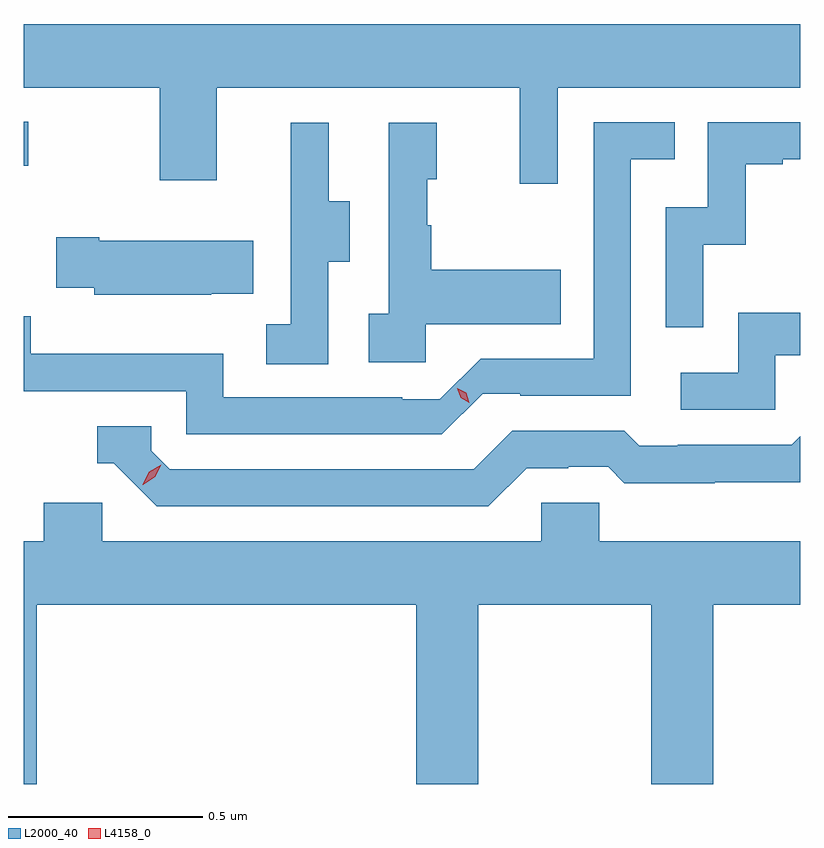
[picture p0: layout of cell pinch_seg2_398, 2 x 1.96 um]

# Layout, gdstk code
import gdstk
lib = gdstk.Library(unit=1e-6, precision=1e-09)
def R(c, l, rs):  # rectangles x0, y0, x1, y1
    for r in rs: c.add(gdstk.rectangle(r[:2], r[2:], *l))
def P(c, l, *ps):  # polygons
    for p in ps: c.add(gdstk.Polygon(p, *l))
L2000_40 = (2000, 40)
L4158_0 = (4158, 0)

pinch_seg2_398 = lib.new_cell('pinch_seg2_398')
R(pinch_seg2_398, L2000_40, [(999.086,624.791,999.097,624.904)])
P(pinch_seg2_398, L2000_40, [(1000.461,624.992),(1001.086,624.992),(1001.086,625.156),(999.086,625.156),(999.086,624.992),(999.436,624.992),(999.436,624.753),(999.583,624.753),(999.583,624.992),(1000.364,624.992),(1000.364,624.744),(1000.461,624.744)],
  [(1000.836,624.587),(1000.946,624.587),(1000.946,624.795),(1001.041,624.795),(1001.041,624.807),(1001.086,624.807),(1001.086,624.903),(1000.848,624.903),(1000.848,624.684),(1000.74,624.684),(1000.74,624.375),(1000.836,624.375)],
  [(1000.268,624.204),(1000.365,624.204),(1000.365,624.198),(1000.65,624.198),(1000.65,624.807),(1000.763,624.807),(1000.763,624.903),(1000.554,624.903),(1000.554,624.294),(1000.263,624.294),(1000.158,624.189),(1000.061,624.189),(1000.061,624.195),(999.6,624.195),(999.6,624.307),(999.104,624.307),(999.104,624.403),(999.086,624.403),(999.086,624.21),(999.504,624.21),(999.504,624.099),(1000.163,624.099)],
  [(1000.122,624.383),(1000.469,624.383),(1000.469,624.523),(1000.135,624.523),(1000.135,624.638),(1000.125,624.638),(1000.125,624.756),(1000.15,624.756),(1000.15,624.901),(1000.026,624.901),(1000.026,624.41),(999.975,624.41),(999.975,624.285),(1000.122,624.285)],
  [(999.87,624.544),(999.925,624.544),(999.925,624.699),(999.871,624.699),(999.871,624.901),(999.773,624.901),(999.773,624.687),(999.774,624.687),(999.774,624.383),(999.711,624.383),(999.711,624.28),(999.87,624.28)],
  [(999.569,624.461),(999.677,624.461),(999.677,624.598),(999.28,624.598),(999.28,624.606),(999.169,624.606),(999.169,624.476),(999.267,624.476),(999.267,624.458),(999.569,624.458)],
  [(1001.022,624.303),(1001.086,624.303),(1001.086,624.412),(1000.926,624.412),(1000.926,624.258),(1000.779,624.258),(1000.779,624.162),(1001.022,624.162)],
  [(1000.381,624.012),(1000.488,624.012),(1000.488,624.015),(1000.591,624.015),(1000.633,623.973),(1000.866,623.973),(1000.866,623.975),(1001.086,623.975),(1001.086,624.094),(1001.064,624.072),(1000.771,624.072),(1000.771,624.069),(1000.672,624.069),(1000.633,624.108),(1000.344,624.108),(1000.245,624.009),(999.462,624.009),(999.414,624.057),(999.414,624.12),(999.275,624.12),(999.275,624.024),(999.318,624.024),(999.429,623.913),(1000.282,623.913)],
  [(999.119,623.66),(1000.097,623.66),(1000.097,623.198),(1000.257,623.198),(1000.257,623.66),(1000.702,623.66),(1000.702,623.198),(1000.862,623.198),(1000.862,623.66),(1001.086,623.66),(1001.086,623.824),(1000.569,623.824),(1000.569,623.922),(1000.419,623.922),(1000.419,623.824),(999.288,623.824),(999.288,623.922),(999.137,623.922),(999.137,623.824),(999.086,623.824),(999.086,623.198),(999.119,623.198)])
P(pinch_seg2_398, L4158_0, [(1000.234,624.18),(1000.211,624.193),(1000.202,624.218),(1000.202,624.218),(1000.203,624.218),(1000.226,624.206),(1000.234,624.18),(1000.234,624.18)],
  [(999.392,623.969),(999.392,623.97),(999.409,624.002),(999.44,624.021),(999.44,624.021),(999.44,624.021),(999.424,623.989),(999.393,623.969)])

lib.write_gds('pinch_seg2_398.gds')
